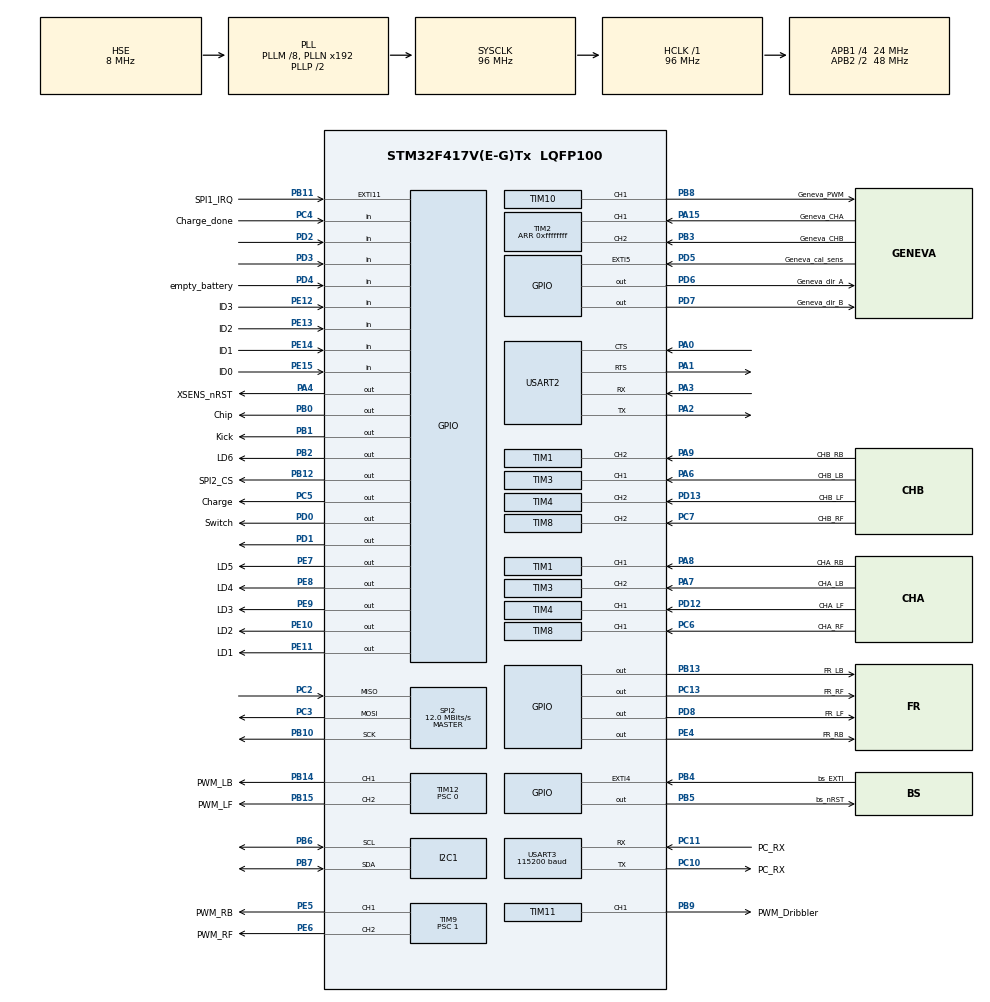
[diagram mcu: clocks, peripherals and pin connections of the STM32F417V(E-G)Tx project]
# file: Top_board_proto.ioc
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Mcu.Family=STM32F4
Mcu.Name=STM32F417V(E-G)Tx
Mcu.Package=LQFP100
Mcu.UserConstants=MAX_PWM,2400
NVIC.EXTI15_10_IRQn=true\:0\:0\:false\:false\:true\:true
NVIC.EXTI4_IRQn=true\:0\:0\:false\:false\:true\:true
NVIC.EXTI9_5_IRQn=true\:0\:0\:false\:false\:true\:true
NVIC.I2C1_EV_IRQn=true\:0\:0\:false\:false\:true\:true
NVIC.PriorityGroup=NVIC_PRIORITYGROUP_4
NVIC.TIM6_DAC_IRQn=true\:0\:0\:false\:false\:true\:true
NVIC.TIM7_IRQn=true\:0\:0\:false\:false\:true\:true
NVIC.TIM8_TRG_COM_TIM14_IRQn=true\:0\:0\:false\:false\:true\:true
NVIC.TIM8_UP_TIM13_IRQn=true\:0\:0\:false\:false\:true\:true
NVIC.USART2_IRQn=true\:0\:0\:false\:false\:true\:true
NVIC.USART3_IRQn=true\:0\:0\:false\:false\:true\:true
PA0-WKUP.Mode=CTS_RTS
PA0-WKUP.Signal=USART2_CTS
PA1.Mode=CTS_RTS
PA1.Signal=USART2_RTS
PA13.Mode=Serial_Wire
PA13.Signal=SYS_JTMS-SWDIO
PA14.Mode=Serial_Wire
PA14.Signal=SYS_JTCK-SWCLK
PA15.GPIO_Label=Geneva_CHA
PA15.Signal=S_TIM2_CH1_ETR
PA2.Mode=Asynchronous
PA2.Signal=USART2_TX
PA3.Mode=Asynchronous
PA3.Signal=USART2_RX
PA4.GPIO_Label=XSENS_nRST
PA4.Signal=GPIO_Output
PA6.GPIO_Label=CHB_LB
PA6.Signal=S_TIM3_CH1
PA7.GPIO_Label=CHA_LB
PA7.Signal=S_TIM3_CH2
PA8.GPIO_Label=CHA_RB
PA8.Signal=S_TIM1_CH1
PA9.GPIO_Label=CHB_RB
PA9.Signal=S_TIM1_CH2
PB0.GPIO_Label=Chip
PB0.GPIO_Speed=GPIO_SPEED_FREQ_HIGH
PB0.Signal=GPIO_Output
PB1.GPIO_Label=Kick
PB1.GPIO_Speed=GPIO_SPEED_FREQ_HIGH
PB1.Signal=GPIO_Output
PB10.Mode=Full_Duplex_Master
PB10.Signal=SPI2_SCK
PB11.GPIO_Label=SPI1_IRQ
PB11.Signal=GPXTI11
PB12.GPIO_Label=SPI2_CS
PB12.Signal=GPIO_Output
PB13.GPIO_Label=FR_LB
PB13.Signal=GPIO_Output
PB14.GPIO_Label=PWM_LB
PB14.Signal=S_TIM12_CH1
PB15.GPIO_Label=PWM_LF
PB15.Signal=S_TIM12_CH2
PB2.GPIO_Label=LD6
PB2.PinState=GPIO_PIN_RESET
PB2.Signal=GPIO_Output
PB3.GPIO_Label=Geneva_CHB
PB3.Signal=S_TIM2_CH2
PB4.GPIO_Label=bs_EXTI
PB4.Signal=GPXTI4
PB5.GPIO_Label=bs_nRST
PB5.Signal=GPIO_Output
PB6.Mode=I2C
PB6.Signal=I2C1_SCL
PB7.Mode=I2C
PB7.Signal=I2C1_SDA
PB8.GPIO_Label=Geneva_PWM
PB8.Signal=S_TIM10_CH1
PB9.GPIO_Label=PWM_Dribbler
PB9.Signal=S_TIM11_CH1
PC10.GPIO_Label=PC_RX
PC10.Mode=Asynchronous
PC10.Signal=USART3_TX
PC11.GPIO_Label=PC_RX
PC11.Mode=Asynchronous
PC11.Signal=USART3_RX
PC13-ANTI_TAMP.GPIO_Label=FR_RF
PC13-ANTI_TAMP.Signal=GPIO_Output
PC2.Mode=Full_Duplex_Master
PC2.Signal=SPI2_MISO
PC3.Mode=Full_Duplex_Master
PC3.Signal=SPI2_MOSI
PC4.GPIO_Label=Charge_done
PC4.Signal=GPIO_Input
PC5.GPIO_Label=Charge
PC5.GPIO_Speed=GPIO_SPEED_FREQ_HIGH
PC5.Signal=GPIO_Output
PC6.GPIO_Label=CHA_RF
PC6.Signal=S_TIM8_CH1
PC7.GPIO_Label=CHB_RF
PC7.Signal=S_TIM8_CH2
PD0.GPIO_Label=Switch
PD0.Signal=GPIO_Output
PD1.Signal=GPIO_Output
PD12.GPIO_Label=CHA_LF
PD12.Signal=S_TIM4_CH1
PD13.GPIO_Label=CHB_LF
PD13.Signal=S_TIM4_CH2
PD2.Signal=GPIO_Input
PD3.Signal=GPIO_Input
PD4.GPIO_Label=empty_battery
PD4.Signal=GPIO_Input
PD5.GPIO_Label=Geneva_cal_sens
PD5.Signal=GPXTI5
PD6.GPIO_Label=Geneva_dir_A
PD6.Signal=GPIO_Output
PD7.GPIO_Label=Geneva_dir_B
PD7.Signal=GPIO_Output
PD8.GPIO_Label=FR_LF
PD8.Signal=GPIO_Output
PE10.GPIO_Label=LD2
PE10.PinState=GPIO_PIN_RESET
PE10.Signal=GPIO_Output
PE11.GPIO_Label=LD1
PE11.PinState=GPIO_PIN_RESET
PE11.Signal=GPIO_Output
PE12.GPIO_Label=ID3
PE12.Signal=GPIO_Input
PE13.GPIO_Label=ID2
PE13.Signal=GPIO_Input
PE14.GPIO_Label=ID1
PE14.Signal=GPIO_Input
PE15.GPIO_Label=ID0
PE15.Signal=GPIO_Input
PE4.GPIO_Label=FR_RB
PE4.Signal=GPIO_Output
PE5.GPIO_Label=PWM_RB
PE5.Signal=S_TIM9_CH1
PE6.GPIO_Label=PWM_RF
PE6.Signal=S_TIM9_CH2
PE7.GPIO_Label=LD5
PE7.PinState=GPIO_PIN_RESET
PE7.Signal=GPIO_Output
PE8.GPIO_Label=LD4
PE8.PinState=GPIO_PIN_RESET
PE8.Signal=GPIO_Output
PE9.GPIO_Label=LD3
PE9.PinState=GPIO_PIN_RESET
PE9.Signal=GPIO_Output
PH0-OSC_IN.Mode=HSE-External-Oscillator
PH0-OSC_IN.Signal=RCC_OSC_IN
PH1-OSC_OUT.Mode=HSE-External-Oscillator
PH1-OSC_OUT.Signal=RCC_OSC_OUT
ProjectManager.HeapSize=0x200
ProjectManager.StackSize=0x400
ProjectManager.TargetToolchain=SW4STM32
RCC.48MHZClocksFreq_Value=48000000
RCC.AHBFreq_Value=96000000
RCC.APB1CLKDivider=RCC_HCLK_DIV4
RCC.APB1Freq_Value=24000000
RCC.APB1TimFreq_Value=48000000
RCC.APB2CLKDivider=RCC_HCLK_DIV2
RCC.APB2Freq_Value=48000000
RCC.APB2TimFreq_Value=96000000
RCC.CortexFreq_Value=96000000
RCC.HCLKFreq_Value=96000000
RCC.HSE_VALUE=8000000
RCC.HSI_VALUE=16000000
RCC.LSE_VALUE=32768
RCC.PLLM=8
RCC.PLLSourceVirtual=RCC_PLLSOURCE_HSE
RCC.RCC_RTC_Clock_SourceVirtual=RCC_RTCCLKSOURCE_HSE_DIV25
RCC.RCC_RTC_Clock_Source_FROM_HSE=RCC_RTCCLKSOURCE_HSE_DIV25
RCC.SYSCLKFreq_VALUE=96000000
RCC.SYSCLKSource=RCC_SYSCLKSOURCE_PLLCLK
RCC.VCOOutputFreq_Value=192000000
SH.S_TIM10_CH1.0=TIM10_CH1,PWM Generation1 CH1
SH.S_TIM11_CH1.0=TIM11_CH1,PWM Generation1 CH1
SH.S_TIM12_CH1.0=TIM12_CH1,PWM Generation1 CH1
SH.S_TIM12_CH2.0=TIM12_CH2,PWM Generation2 CH2
SH.S_TIM1_CH1.0=TIM1_CH1,Encoder_Interface
SH.S_TIM1_CH2.0=TIM1_CH2,Encoder_Interface
SH.S_TIM2_CH1_ETR.0=TIM2_CH1,Encoder_Interface
SH.S_TIM2_CH2.0=TIM2_CH2,Encoder_Interface
SH.S_TIM3_CH1.0=TIM3_CH1,Encoder_Interface
SH.S_TIM3_CH2.0=TIM3_CH2,Encoder_Interface
SH.S_TIM4_CH1.0=TIM4_CH1,Encoder_Interface
SH.S_TIM4_CH2.0=TIM4_CH2,Encoder_Interface
SH.S_TIM8_CH1.0=TIM8_CH1,Encoder_Interface
SH.S_TIM8_CH2.0=TIM8_CH2,Encoder_Interface
SH.S_TIM9_CH1.0=TIM9_CH1,PWM Generation1 CH1
SH.S_TIM9_CH2.0=TIM9_CH2,PWM Generation2 CH2
SPI2.BaudRatePrescaler=SPI_BAUDRATEPRESCALER_2
SPI2.CalculateBaudRate=12.0 MBits/s
SPI2.Direction=SPI_DIRECTION_2LINES
SPI2.Mode=SPI_MODE_MASTER
SPI2.VirtualType=VM_MASTER
TIM1.Period=0xffff
TIM10.Channel=TIM_CHANNEL_1
TIM10.Period=MAX_PWM
TIM11.Channel=TIM_CHANNEL_1
TIM11.Period=MAX_PWM
TIM11.Prescaler=0
TIM12.Channel-Output\ Compare1\ CH1=TIM_CHANNEL_1
TIM12.Channel-PWM\ Generation1\ CH1=TIM_CHANNEL_1
TIM12.Channel-PWM\ Generation2\ CH2=TIM_CHANNEL_2
TIM12.OCFastMode_PWM-PWM\ Generation1\ CH1=TIM_OCFAST_ENABLE
TIM12.OCFastMode_PWM-PWM\ Generation2\ CH2=TIM_OCFAST_ENABLE
TIM12.OCMode_PWM-PWM\ Generation1\ CH1=TIM_OCMODE_PWM1
TIM12.OCMode_PWM-PWM\ Generation2\ CH2=TIM_OCMODE_PWM1
TIM12.OCPolarity_2=TIM_OCPOLARITY_HIGH
TIM12.Period=MAX_PWM
TIM12.Prescaler=0
TIM12.Pulse-PWM\ Generation1\ CH1=0
TIM12.Pulse-PWM\ Generation2\ CH2=0
TIM13.Prescaler=2400
TIM14.Period=1500
TIM14.Prescaler=47
TIM2.Period=0xffffffff
TIM3.Period=0xffff
TIM4.Period=0xffff
TIM5.Period=0xffffffff
TIM5.Prescaler=47
TIM6.Period=10000
TIM6.Prescaler=47
TIM7.Period=10000
TIM7.Prescaler=47
TIM8.Period=0xffff
TIM9.Channel-PWM\ Generation1\ CH1=TIM_CHANNEL_1
TIM9.Channel-PWM\ Generation2\ CH2=TIM_CHANNEL_2
TIM9.OCFastMode_PWM-PWM\ Generation1\ CH1=TIM_OCFAST_ENABLE
TIM9.OCFastMode_PWM-PWM\ Generation2\ CH2=TIM_OCFAST_ENABLE
TIM9.Period=MAX_PWM
TIM9.Prescaler=1
USART2.VirtualMode=VM_ASYNC
USART3.BaudRate=115200
USART3.VirtualMode=VM_ASYNC
VP_TIM10_VS_ClockSourceINT.Mode=Enable_Timer
VP_TIM11_VS_ClockSourceINT.Mode=Enable_Timer
VP_TIM13_VS_ClockSourceINT.Mode=Enable_Timer
VP_TIM14_VS_ClockSourceINT.Mode=Enable_Timer
VP_TIM5_VS_ClockSourceINT.Mode=Internal
VP_TIM6_VS_ClockSourceINT.Mode=Enable_Timer
VP_TIM7_VS_ClockSourceINT.Mode=Enable_Timer
board=Top_board_proto

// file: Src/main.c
/**
  ******************************************************************************
  * @file           : main.c
  * @brief          : Main program body
  ******************************************************************************
  ** This notice applies to any and all portions of this file
  * that are not between comment pairs USER CODE BEGIN and
  * USER CODE END. Other portions of this file, whether
  * inserted by the user or by software development tools
  * are owned by their respective copyright owners.
  *
  * COPYRIGHT(c) 2018 STMicroelectronics
  *
  * Redistribution and use in source and binary forms, with or without modification,
  * are permitted provided that the following conditions are met:
  *   1. Redistributions of source code must retain the above copyright notice,
  *      this list of conditions and the following disclaimer.
  *   2. Redistributions in binary form must reproduce the above copyright notice,
  *      this list of conditions and the following disclaimer in the documentation
  *      and/or other materials provided with the distribution.
  *   3. Neither the name of STMicroelectronics nor the names of its contributors
  *      may be used to endorse or promote products derived from this software
  *      without specific prior written permission.
  *
  * THIS SOFTWARE IS PROVIDED BY THE COPYRIGHT HOLDERS AND CONTRIBUTORS "AS IS"
  * AND ANY EXPRESS OR IMPLIED WARRANTIES, INCLUDING, BUT NOT LIMITED TO, THE
  * IMPLIED WARRANTIES OF MERCHANTABILITY AND FITNESS FOR A PARTICULAR PURPOSE ARE
  * DISCLAIMED. IN NO EVENT SHALL THE COPYRIGHT HOLDER OR CONTRIBUTORS BE LIABLE
  * FOR ANY DIRECT, INDIRECT, INCIDENTAL, SPECIAL, EXEMPLARY, OR CONSEQUENTIAL
  * DAMAGES (INCLUDING, BUT NOT LIMITED TO, PROCUREMENT OF SUBSTITUTE GOODS OR
  * SERVICES; LOSS OF USE, DATA, OR PROFITS; OR BUSINESS INTERRUPTION) HOWEVER
  * CAUSED AND ON ANY THEORY OF LIABILITY, WHETHER IN CONTRACT, STRICT LIABILITY,
  * OR TORT (INCLUDING NEGLIGENCE OR OTHERWISE) ARISING IN ANY WAY OUT OF THE USE
  * OF THIS SOFTWARE, EVEN IF ADVISED OF THE POSSIBILITY OF SUCH DAMAGE.
  *
  ******************************************************************************
  */
#include "main.h"
#include "stm32f4xx_hal.h"
#include "i2c.h"
#include "spi.h"
#include "tim.h"
#include "usart.h"
#include "gpio.h"

/* USER CODE BEGIN Includes */
#include <stdbool.h>
#include "PuttyInterface/PuttyInterface.h"
#include "wireless/myNRF24.h"
#include "wireless/roboNRF24.h"

/* USER CODE END Includes */

/* USER CODE BEGIN PV */
/* Private variables ---------------------------------------------------------*/

//values for puttyinterface.h
uint8_t rec_buf[8];
char small_buf;
volatile bool huart3_Rx_flag = false;

uint8_t localRobotID;

uint8_t receptionNo =0; //debug
uint8_t isNrfInitialized = 0;

/* USER CODE END PV */

void SystemClock_Config(void);

/* USER CODE BEGIN PFP */
/* Private function prototypes -----------------------------------------------*/
void HandleCommand(char * input);
int ReadAddress();
/* USER CODE END PFP */

int main(void)
{

  /* MCU Configuration----------------------------------------------------------*/

  /* Reset of all peripherals, Initializes the Flash interface and the Systick. */
  HAL_Init();

  /* Configure the system clock */
  SystemClock_Config();

  /* Initialize all configured peripherals */
  MX_GPIO_Init();
  MX_TIM8_Init();
  MX_TIM4_Init();
  MX_TIM3_Init();
  MX_TIM2_Init();
  MX_TIM9_Init();
  MX_TIM12_Init();
  MX_TIM10_Init();
  MX_TIM11_Init();
  MX_USART2_UART_Init();
  MX_I2C1_Init();
  MX_SPI2_Init();
  MX_USART3_UART_Init();
  MX_TIM1_Init();
  MX_TIM6_Init();
  MX_TIM7_Init();
  MX_TIM5_Init();
  MX_TIM13_Init();
  MX_TIM14_Init();
  /* USER CODE BEGIN 2 */

	//setup code for using the nRF24 module
	//localRobotID = ReadAddress(); //usually that should be the RobotID
  	localRobotID = 4; //TODO: debug. remove later
	nrf24nssHigh(); //I think we need that, but I can't really say, yet, why we would need to call low-level functions in main()

	while(initRobo(&hspi2, RADIO_CHANNEL, localRobotID) != 0) {
		uprintf("Error while initializing nRF wireless module. Check connections.\n");
	}
	isNrfInitialized = 1;
	uprintf("nRF wireless module successfully initialized.\n");
	uprintf("Status Register: %02x.\n", readReg(STATUS));

  /* USER CODE END 2 */

  /* Infinite loop */
  /* USER CODE BEGIN WHILE */
	char * startmessage = "---------------------\n\r";
	uprintf(startmessage);
	uprintf("Build: %s %s\n", __DATE__, __TIME__);

	HAL_UART_Receive_IT(&huart3, rec_buf, 100); //This is needed for debugging input/output on serial

	//int tick = 0;
	//HAL_GPIO_WritePin(LED1_GPIO_Port, LED1_Pin, 0);
	//HAL_GPIO_WritePin(LED2_GPIO_Port, LED2_Pin, 1);
	//HAL_GPIO_WritePin(LED3_GPIO_Port, LED3_Pin, 0);
	//  HAL_GPIO_WritePin(LED4_GPIO_Port, LED4_Pin, 0);
	//uint8_t verbose = 1;

	while (1)
	{
		//HAL_Delay(10); //10ms delay
		if(huart3_Rx_flag){
			//handle debug input/output over UART (connect an ST-Link to it for easy debugging over USB)
			huart3_Rx_flag = false;
			//HAL_GPIO_TogglePin(LED1_GPIO_Port, LED3_Pin);
			HandlePcInput(&small_buf, 100, HandleCommand);
			HAL_UART_Receive_IT(&huart3, rec_buf, 100);
			//HAL_GPIO_TogglePin(LED1_GPIO_Port, LED3_Pin);
		}

		/*
		 *  here you can read from "roboData receivedRoboData"
		 *  and write to "roboAckData preparedAckData"
		 */
		preparedAckData.roboID = localRobotID;
		//pollingSomeSensors(&preparedAckData);
		//whatDoIneedToDo(&receivedRoboData);

		/* END nRF24 polling */

  /* USER CODE END WHILE */

	}

}

void SystemClock_Config(void)
{

  RCC_OscInitTypeDef RCC_OscInitStruct;
  RCC_ClkInitTypeDef RCC_ClkInitStruct;

    /**Configure the main internal regulator output voltage
    */
  __HAL_RCC_PWR_CLK_ENABLE();

  __HAL_PWR_VOLTAGESCALING_CONFIG(PWR_REGULATOR_VOLTAGE_SCALE1);

    /**Initializes the CPU, AHB and APB busses clocks
    */
  RCC_OscInitStruct.OscillatorType = RCC_OSCILLATORTYPE_HSE;
  RCC_OscInitStruct.HSEState = RCC_HSE_ON;
  RCC_OscInitStruct.PLL.PLLState = RCC_PLL_ON;
  RCC_OscInitStruct.PLL.PLLSource = RCC_PLLSOURCE_HSE;
  RCC_OscInitStruct.PLL.PLLM = 8;
  RCC_OscInitStruct.PLL.PLLN = 192;
  RCC_OscInitStruct.PLL.PLLP = RCC_PLLP_DIV2;
  RCC_OscInitStruct.PLL.PLLQ = 4;
  if (HAL_RCC_OscConfig(&RCC_OscInitStruct) != HAL_OK)
  {
    _Error_Handler(__FILE__, __LINE__);
  }

    /**Initializes the CPU, AHB and APB busses clocks
    */
  RCC_ClkInitStruct.ClockType = RCC_CLOCKTYPE_HCLK|RCC_CLOCKTYPE_SYSCLK
                              |RCC_CLOCKTYPE_PCLK1|RCC_CLOCKTYPE_PCLK2;
  RCC_ClkInitStruct.SYSCLKSource = RCC_SYSCLKSOURCE_PLLCLK;
  RCC_ClkInitStruct.AHBCLKDivider = RCC_SYSCLK_DIV1;
  RCC_ClkInitStruct.APB1CLKDivider = RCC_HCLK_DIV4;
  RCC_ClkInitStruct.APB2CLKDivider = RCC_HCLK_DIV2;

  if (HAL_RCC_ClockConfig(&RCC_ClkInitStruct, FLASH_LATENCY_3) != HAL_OK)
  {
    _Error_Handler(__FILE__, __LINE__);
  }

    /**Configure the Systick interrupt time
    */
  HAL_SYSTICK_Config(HAL_RCC_GetHCLKFreq()/1000);

    /**Configure the Systick
    */
  HAL_SYSTICK_CLKSourceConfig(SYSTICK_CLKSOURCE_HCLK);

  /* SysTick_IRQn interrupt configuration */
  HAL_NVIC_SetPriority(SysTick_IRQn, 0, 0);
}

/* USER CODE BEGIN 4 */
void HandleCommand(char * input){
	if(!strcmp(input, "start")){
		uprintf("started\n\r");
	}else if(!strcmp(input, "address")){
		uprintf("Address = [%d]\n\r", ReadAddress());
	}else if(!strcmp(input, "reg")) {
		uprintf("Reading registers.\n");
		//uprintf("This feature is under construction.\n");
		//uint8_t registerOutput = readReg(RX_ADDR_P0); //0x0A = RX_ADDR_P0 -- Receiving Address, Data Pipe 0.
		//uprintf("RX_ADDR_P0: 0x%x\n", registerOutput);
		//uprintf("This output will be more explanatory in the future.\n");
		uprintf("CONFIG: 0x%02x\n", readReg(CONFIG));
		uprintf("EN_AA: 0x%02x\n", readReg(EN_AA));
		uprintf("EN_RXADDR: 0x%02x\n", readReg(EN_RXADDR));
		uprintf("SETUP_AW: 0x%02x\n", readReg(SETUP_AW));
		uprintf("SETUP_RETR: 0x%02x\n", readReg(SETUP_RETR));
		uprintf("RF_CH: 0x%02x\n", readReg(RF_CH));
		uprintf("RF_SETUP: 0x%02x\n", readReg(RF_SETUP));

		uint8_t status_reg = readReg(STATUS);
		uprintf("STATUS: 0x%02x ( ", status_reg);
		if(status_reg & RX_DR) uprintf("RX_DR ");
		if(status_reg & TX_DS) uprintf("TX_DS ");
		if(status_reg & MAX_RT) uprintf("MAX_RT ");
		uint8_t pipeNo = (status_reg >> 1)&7;
		if(pipeNo >= 0 && pipeNo <= 0b101) uprintf("PIPE:%i ", pipeNo);
		if(pipeNo == 0b110) uprintf("RX_FIFO:not_used ");
		if(pipeNo == 0b111) uprintf("RX_FIFO:empty ");
		if(status_reg & STATUS_TX_FULL) uprintf("TX_FULL ");
		uprintf(")\n");

		uprintf("OBSERVE_TX: 0x%02x\n", readReg(OBSERVE_TX));
		uprintf("RPD: 0x%02x\n", readReg(RPD));
		uint8_t buffer[5];
		readRegMulti(RX_ADDR_P0, buffer, 5);
		uprintf("RX_ADDR_P0: 0x%x%x%x%x%x\n", buffer[0],buffer[1],buffer[2],buffer[3],buffer[4]);
		readRegMulti(RX_ADDR_P1, buffer, 5);
		uprintf("RX_ADDR_P1: 0x%x%x%x%x%x\n", buffer[0],buffer[1],buffer[2],buffer[3],buffer[4]);
		readRegMulti(RX_ADDR_P2, buffer, 5);
		uprintf("RX_ADDR_P2: 0x%x%x%x%x%x\n", buffer[0],buffer[1],buffer[2],buffer[3],buffer[4]);
		readRegMulti(RX_ADDR_P3, buffer, 5);
		uprintf("RX_ADDR_P3: 0x%x%x%x%x%x\n", buffer[0],buffer[1],buffer[2],buffer[3],buffer[4]);
		readRegMulti(RX_ADDR_P4, buffer, 5);
		uprintf("RX_ADDR_P4: 0x%x%x%x%x%x\n", buffer[0],buffer[1],buffer[2],buffer[3],buffer[4]);
		readRegMulti(RX_ADDR_P5, buffer, 5);
		uprintf("RX_ADDR_P5: 0x%x%x%x%x%x\n", buffer[0],buffer[1],buffer[2],buffer[3],buffer[4]);

		readRegMulti(TX_ADDR, buffer, 5);
		uprintf("TX_ADDR: 0x%x%x%x%x%x\n", buffer[0],buffer[1],buffer[2],buffer[3],buffer[4]);
		uprintf("RX_PW_P0: 0x%02x\n", readReg(RX_PW_P0));
		uprintf("RX_PW_P1: 0x%02x\n", readReg(RX_PW_P1));
		uprintf("RX_PW_P2: 0x%02x\n", readReg(RX_PW_P2));
		uprintf("RX_PW_P3: 0x%02x\n", readReg(RX_PW_P3));
		uprintf("RX_PW_P4: 0x%02x\n", readReg(RX_PW_P4));
		uprintf("RX_PW_P5: 0x%02x\n", readReg(RX_PW_P5));
		uint8_t fifo_status = readReg(FIFO_STATUS);
		uprintf("FIFO_STATUS: 0x%02x  ( ", fifo_status);
		if(fifo_status & TX_REUSE) uprintf("TX_REUSE ");
		if(fifo_status & FIFO_STATUS_TX_FULL) uprintf("TX_FULL ");
		if(fifo_status & TX_EMPTY) uprintf("TX_EMPTY ");
		if(fifo_status & RX_FULL) uprintf("RX_FULL ");
		if(fifo_status & RX_EMPTY) uprintf("RX_EMPTY ");
		uprintf(" )\n");

		uprintf("DYNPD: 0x%02x\n", readReg(DYNPD));
		uprintf("FEATURE: 0x%02x\n", readReg(FEATURE));

	}else if(!strcmp(input, "help")) {
		uprintf("----HELP----\n");
		uprintf("Build: %s %s\n", __DATE__, __TIME__);
		uprintf("Hardware Version: 2017 Rev. A\n");
		uprintf("List of available commands: \n");
		uprintf("help -- Prints this help message\n");
		uprintf("start -- Not implemented\n");
		uprintf("address -- Prints the address as read from the DIP switches on the board.\n");
		uprintf("reg -- Print the values of the nRF registers\n");
		uprintf("(this list may be incomplete)\n");
	}
}
void HAL_UART_RxCpltCallback(UART_HandleTypeDef *huart){ 	//So please call me, baby; Wherever you are..
	//HAL_GPIO_TogglePin(LED1_GPIO_Port, LED4_Pin);
	if(huart->Instance == huart3.Instance){
		huart3_Rx_flag = true;
		small_buf = *(huart->pRxBuffPtr-1);
	}
}
int ReadAddress(){
	return (HAL_GPIO_ReadPin(ID0_GPIO_Port, ID0_Pin) << 0 | HAL_GPIO_ReadPin(ID1_GPIO_Port, ID1_Pin)  << 1 | HAL_GPIO_ReadPin(ID2_GPIO_Port, ID2_Pin) << 2 | HAL_GPIO_ReadPin(ID3_GPIO_Port, ID3_Pin)  << 3);
}

void HAL_GPIO_EXTI_Callback(uint16_t GPIO_Pin) {
	if(isNrfInitialized) {
		uprintf("\n\nInterrupt fired.\n");

		int8_t error_code = roboCallback(localRobotID);
		if(error_code) {
			uprintf("RoboCallback failed with error: %i\n", error_code);
		}

		//flushRX();
		clearInterrupts(); //should not be needed
	}
}

/* USER CODE END 4 */

void _Error_Handler(char *file, int line)
{
  /* USER CODE BEGIN Error_Handler_Debug */
	/* User can add his own implementation to report the HAL error return state */
	uprintf("ERROR in file %s in line %i\n", file, line);
	uprintf("Stopping execution. Please reset.\n");
	while(1)
	{
	}
  /* USER CODE END Error_Handler_Debug */
}

/************************ (C) COPYRIGHT STMicroelectronics *****END OF FILE****/
